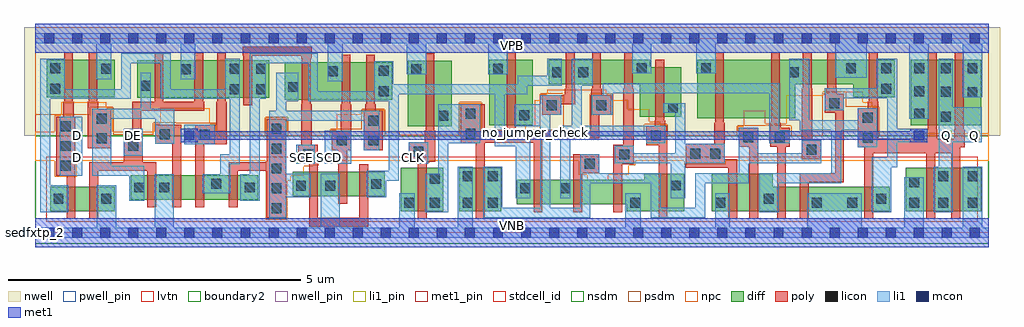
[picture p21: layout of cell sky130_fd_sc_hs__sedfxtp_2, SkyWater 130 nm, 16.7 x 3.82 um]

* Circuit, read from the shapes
.subckt sky130_fd_sc_hs__sedfxtp_2 CLK D DE Q SCD SCE VGND VNB VPB VPWR
XM1 n1 D n2 VNB sky130_fd_pr__nfet_01v8_lvt w=0.42 l=0.15
XM2 VGND DE n1 VNB sky130_fd_pr__nfet_01v8_lvt w=0.42 l=0.15
XM3 VGND DE n3 VNB sky130_fd_pr__nfet_01v8_lvt w=0.42 l=0.15
XM4 n4 n3 VGND VNB sky130_fd_pr__nfet_01v8_lvt w=0.42 l=0.15
XM5 n2 n5 n4 VNB sky130_fd_pr__nfet_01v8_lvt w=0.42 l=0.15
XM6 n6 n7 n2 VNB sky130_fd_pr__nfet_01v8_lvt w=0.42 l=0.15
XM7 VGND SCE n7 VNB sky130_fd_pr__nfet_01v8_lvt w=0.42 l=0.15
XM8 n8 SCD VGND VNB sky130_fd_pr__nfet_01v8_lvt w=0.42 l=0.15
XM9 n6 SCE n8 VNB sky130_fd_pr__nfet_01v8_lvt w=0.42 l=0.15
XM10 n9 CLK VGND VNB sky130_fd_pr__nfet_01v8_lvt w=0.74 l=0.15
XM11 n10 n9 VGND VNB sky130_fd_pr__nfet_01v8_lvt w=0.74 l=0.15
XM12 n11 n9 n6 VNB sky130_fd_pr__nfet_01v8_lvt w=0.42 l=0.15
XM13 n12 n10 n11 VNB sky130_fd_pr__nfet_01v8_lvt w=0.42 l=0.15
XM14 VGND n13 n12 VNB sky130_fd_pr__nfet_01v8_lvt w=0.42 l=0.15
XM15 n13 n11 VGND VNB sky130_fd_pr__nfet_01v8_lvt w=0.64 l=0.15
XM16 n14 n13 VGND VNB sky130_fd_pr__nfet_01v8_lvt w=0.64 l=0.15
XM17 n15 n10 n14 VNB sky130_fd_pr__nfet_01v8_lvt w=0.64 l=0.15
XM18 n16 n9 n15 VNB sky130_fd_pr__nfet_01v8_lvt w=0.42 l=0.15
XM19 VGND n5 n16 VNB sky130_fd_pr__nfet_01v8_lvt w=0.42 l=0.15
XM20 n5 n15 VGND VNB sky130_fd_pr__nfet_01v8_lvt w=0.42 l=0.15
XM21 Q n15 VGND VNB sky130_fd_pr__nfet_01v8_lvt w=0.74 l=0.15 m=2
XM22 n17 D n2 VPB sky130_fd_pr__pfet_01v8 w=0.64 l=0.15
XM23 VPWR n3 n17 VPB sky130_fd_pr__pfet_01v8 w=0.64 l=0.15
XM24 VPWR DE n3 VPB sky130_fd_pr__pfet_01v8 w=0.64 l=0.15
XM25 n18 DE VPWR VPB sky130_fd_pr__pfet_01v8 w=0.64 l=0.15
XM26 n2 n5 n18 VPB sky130_fd_pr__pfet_01v8 w=0.64 l=0.15
XM27 n6 SCE n2 VPB sky130_fd_pr__pfet_01v8 w=0.64 l=0.15
XM28 VPWR SCE n7 VPB sky130_fd_pr__pfet_01v8 w=0.64 l=0.15
XM29 n19 SCD VPWR VPB sky130_fd_pr__pfet_01v8 w=0.64 l=0.15
XM30 n6 n7 n19 VPB sky130_fd_pr__pfet_01v8 w=0.64 l=0.15
XM31 n9 CLK VPWR VPB sky130_fd_pr__pfet_01v8 w=1.12 l=0.15
XM32 n10 n9 VPWR VPB sky130_fd_pr__pfet_01v8 w=1.12 l=0.15
XM33 n11 n10 n6 VPB sky130_fd_pr__pfet_01v8 w=0.42 l=0.15
XM34 n20 n9 n11 VPB sky130_fd_pr__pfet_01v8 w=0.42 l=0.15
XM35 VPWR n13 n20 VPB sky130_fd_pr__pfet_01v8 w=0.42 l=0.15
XM36 n13 n11 VPWR VPB sky130_fd_pr__pfet_01v8 w=0.84 l=0.15
XM37 n21 n13 VPWR VPB sky130_fd_pr__pfet_01v8 w=1 l=0.15
XM38 n15 n9 n21 VPB sky130_fd_pr__pfet_01v8 w=1 l=0.15
XM39 n22 n10 n15 VPB sky130_fd_pr__pfet_01v8 w=0.42 l=0.15
XM40 VPWR n5 n22 VPB sky130_fd_pr__pfet_01v8 w=0.42 l=0.15
XM41 n5 n15 VPWR VPB sky130_fd_pr__pfet_01v8 w=0.64 l=0.15
XM42 Q n15 VPWR VPB sky130_fd_pr__pfet_01v8 w=1.12 l=0.15 m=2
.ends

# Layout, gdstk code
import gdstk
lib = gdstk.Library(unit=1e-6, precision=1e-09)
def R(c, l, rs):  # rectangles x0, y0, x1, y1
    for r in rs: c.add(gdstk.rectangle(r[:2], r[2:], *l))
def A(c, l, x, y, w, h, nx, ny, dx, dy):  # array of equal rectangles
    R(c, l, [(x+i*dx, y+j*dy, x+i*dx+w, y+j*dy+h) for i in range(nx) for j in range(ny)])
def P(c, l, *ps):  # polygons
    for p in ps: c.add(gdstk.Polygon(p, *l))
nwell_pin = (64, 16)
nwell = (64, 20)
diff = (65, 20)
poly = (66, 20)
licon = (66, 44)
li1_pin = (67, 16)
li1 = (67, 20)
mcon = (67, 44)
met1_pin = (68, 16)
met1 = (68, 20)
stdcell_id = (81, 4)
nsdm = (93, 44)
psdm = (94, 20)
npc = (95, 20)
pwell_pin = (122, 16)
lvtn = (125, 44)
boundary2 = (236, 0)

sky130_fd_sc_hs__sedfxtp = lib.new_cell('sky130_fd_sc_hs__sedfxtp_2')
R(sky130_fd_sc_hs__sedfxtp, nwell_pin, [(0,3.085,16.32,3.33)])
P(sky130_fd_sc_hs__sedfxtp, nwell, [(16.51,3.52),(-0.19,3.52),(-0.19,1.66),(6.2,1.66),(6.2,1.64),(7.305,1.64),(7.305,1.66),(16.51,1.66)])
R(sky130_fd_sc_hs__sedfxtp, diff, [(0.255,0.37,1.365,0.79), (6.255,0.37,6.985,1.11), (7.255,0.37,7.975,1.11), (14.895,0.37,16.185,1.11), (1.635,0.565,3.82,0.985), (4.405,0.625,5.985,1.045), (6.38,1.82,7.125,2.94), (7.775,1.84,8.515,2.96), (14.98,1.84,16.185,2.96), (4.275,2.275,6.11,2.915), (1.75,2.315,4.005,2.955), (0.2,2.32,1.36,2.96)])
P(sky130_fd_sc_hs__sedfxtp, diff, [(11.06,2.83),(10.525,2.83),(10.525,2.96),(8.785,2.96),(8.785,2.54),(10.35,2.54),(10.35,1.99),(11.06,1.99)],
  [(11.105,1.01),(10.42,1.01),(10.42,0.905),(8.245,0.905),(8.245,0.485),(10.12,0.485),(10.12,0.37),(11.105,0.37)],
  [(14.625,0.79),(12.62,0.79),(12.62,1.01),(11.575,1.01),(11.575,0.37),(14.625,0.37)],
  [(14.71,2.96),(11.33,2.96),(11.33,1.96),(13.01,1.96),(13.01,2.54),(14,2.54),(14,2.32),(14.71,2.32)])
P(sky130_fd_sc_hs__sedfxtp, poly, [(9.245,2.465),(9.23,2.465),(9.23,3.09),(9.08,3.09),(9.08,2.465),(9.065,2.465),(9.065,2.35),(8.675,2.35),(8.675,2.02),(9.005,2.02),(9.005,2.2),(9.245,2.2)],
  [(6.845,1.745),(6.83,1.745),(6.83,3.07),(6.68,3.07),(6.68,1.745),(6.665,1.745),(6.665,1.55),(6.395,1.55),(6.395,1.22),(6.55,1.22),(6.55,0.24),(6.7,0.24),(6.7,1.22),(6.845,1.22)],
  [(5.95,2.085),(5.83,2.085),(5.83,2.2),(5.815,2.2),(5.815,3.045),(5.665,3.045),(5.665,2.2),(5.65,2.2),(5.65,2.085),(5.62,2.085),(5.62,1.415),(5.95,1.415)],
  [(5.7,1.175),(5.55,1.175),(5.55,0.255),(4.84,0.255),(4.84,1.51),(4.73,1.51),(4.73,2.2),(4.715,2.2),(4.715,2.99),(4.73,2.99),(4.73,3.18),(3.55,3.18),(3.55,3.03),(3.565,3.03),(3.565,2.185),(3.715,2.185),(3.715,3.03),(4.55,3.03),(4.55,2.99),(4.565,2.99),(4.565,2.2),(4.55,2.2),(4.55,1.51),(4.505,1.51),(4.505,1.18),(4.69,1.18),(4.69,0.105),(5.7,0.105)],
  [(5.41,2.2),(5.395,2.2),(5.395,3.045),(5.245,3.045),(5.245,2.2),(5.23,2.2),(5.23,1.745),(5.08,1.745),(5.08,1.415),(5.19,1.415),(5.19,0.495),(5.34,0.495),(5.34,1.415),(5.41,1.415)],
  [(4.295,1.945),(3.965,1.945),(3.965,1.21),(3.315,1.21),(3.315,0.435),(3.465,0.435),(3.465,1.06),(3.965,1.06),(3.965,0.255),(4.295,0.255)],
  [(3.28,2.24),(3.265,2.24),(3.265,3.085),(3.115,3.085),(3.115,2.24),(3.1,2.24),(3.1,1.845),(2.74,1.845),(2.74,0.435),(2.89,0.435),(2.89,1.515),(3.28,1.515)],
  [(2.89,2.24),(2.875,2.24),(2.875,3.085),(2.725,3.085),(2.725,2.24),(2.195,2.24),(2.195,3.085),(2.045,3.085),(2.045,2.24),(1.665,2.24),(1.665,1.65),(1.515,1.65),(1.515,1.21),(0.93,1.21),(0.93,0.24),(1.08,0.24),(1.08,1.06),(1.92,1.06),(1.92,0.435),(2.07,0.435),(2.07,1.21),(1.845,1.21),(1.845,1.65),(1.815,1.65),(1.815,2.09),(2.89,2.09)],
  [(2.5,1.85),(2.055,1.85),(2.055,1.52),(2.35,1.52),(2.35,0.435),(2.5,0.435)],
  [(1.305,2.12),(1.08,2.12),(1.08,2.245),(1.065,2.245),(1.065,3.09),(0.915,3.09),(0.915,2.245),(0.9,2.245),(0.9,1.45),(1.305,1.45)],
  [(0.69,1.99),(0.66,1.99),(0.66,2.245),(0.645,2.245),(0.645,3.09),(0.495,3.09),(0.495,2.245),(0.48,2.245),(0.48,1.99),(0.36,1.99),(0.36,0.98),(0.54,0.98),(0.54,0.24),(0.69,0.24)],
  [(9.655,1.345),(9.21,1.345),(9.21,0.355),(9.36,0.355),(9.36,1.015),(9.655,1.015)],
  [(9.855,2.35),(9.695,2.35),(9.695,2.465),(9.68,2.465),(9.68,3.09),(9.53,3.09),(9.53,2.465),(9.515,2.465),(9.515,2.35),(9.505,2.35),(9.505,1.765),(8.22,1.765),(8.22,3.09),(8.07,3.09),(8.07,1.765),(7.69,1.765),(7.69,2.2),(7.285,2.2),(7.285,1.53),(7.54,1.53),(7.54,0.24),(7.69,0.24),(7.69,1.545),(8.53,1.545),(8.53,0.355),(8.68,0.355),(8.68,1.615),(9.655,1.615),(9.655,2.02),(9.855,2.02)],
  [(10.245,2.465),(10.23,2.465),(10.23,3.09),(10.08,3.09),(10.08,2.465),(10.065,2.465),(10.065,1.505),(9.895,1.505),(9.895,0.355),(10.045,0.355),(10.045,1.175),(10.245,1.175)],
  [(10.82,1.83),(10.78,1.83),(10.78,1.915),(10.765,1.915),(10.765,2.96),(10.615,2.96),(10.615,1.915),(10.6,1.915),(10.6,1.83),(10.455,1.83),(10.455,1.5),(10.67,1.5),(10.67,0.24),(10.82,0.24)],
  [(12.01,1.26),(11.8,1.26),(11.8,1.885),(11.785,1.885),(11.785,3.09),(11.635,3.09),(11.635,1.885),(11.62,1.885),(11.62,1.52),(11.13,1.52),(11.13,1.11),(11.86,1.11),(11.86,0.24),(12.01,0.24)],
  [(12.37,1.8),(12.04,1.8),(12.04,1.47),(12.22,1.47),(12.22,0.24),(12.37,0.24)],
  [(12.91,1.8),(12.76,1.8),(12.76,1.885),(12.745,1.885),(12.745,3.09),(12.595,3.09),(12.595,1.885),(12.58,1.885),(12.58,1.47),(12.695,1.47),(12.695,0.24),(12.845,0.24),(12.845,1.47),(12.91,1.47)],
  [(13.45,1.585),(13.3,1.585),(13.3,2.465),(13.285,2.465),(13.285,3.09),(13.135,3.09),(13.135,2.465),(13.12,2.465),(13.12,1.255),(13.45,1.255)],
  [(13.84,2.38),(13.72,2.38),(13.72,2.465),(13.705,2.465),(13.705,3.09),(13.555,3.09),(13.555,2.465),(13.54,2.465),(13.54,2.38),(13.51,2.38),(13.51,2.05),(13.69,2.05),(13.69,1.015),(13.085,1.015),(13.085,0.24),(13.235,0.24),(13.235,0.865),(13.84,0.865)],
  [(15.905,1.765),(15.89,1.765),(15.89,3.09),(15.74,3.09),(15.74,1.765),(15.725,1.765),(15.725,1.61),(15.44,1.61),(15.44,1.765),(15.425,1.765),(15.425,3.09),(15.275,3.09),(15.275,1.765),(15.26,1.765),(15.26,1.61),(14.43,1.61),(14.43,2.245),(14.415,2.245),(14.415,3.09),(14.265,3.09),(14.265,2.245),(14.25,2.245),(14.25,2.13),(14.08,2.13),(14.08,1.46),(14.19,1.46),(14.19,0.24),(14.34,0.24),(14.34,1.36),(15.25,1.36),(15.25,0.24),(15.4,0.24),(15.4,1.36),(15.68,1.36),(15.68,0.24),(15.83,0.24),(15.83,1.46),(15.905,1.46)])
A(sky130_fd_sc_hs__sedfxtp, licon, 4.045, 0.335, 0.17, 0.17, 1, 5, 0, 0.34)
A(sky130_fd_sc_hs__sedfxtp, licon, 14.955, 0.43, 0.17, 0.17, 3, 1, 0.5, 0)
A(sky130_fd_sc_hs__sedfxtp, licon, 0.44, 1.06, 0.17, 0.17, 1, 3, 0, 0.34)
R(sky130_fd_sc_hs__sedfxtp, licon, [(6.32,0.43,6.49,0.6), (6.755,0.43,6.925,0.6), (7.315,0.43,7.485,0.6), (7.745,0.43,7.915,0.6), (10.185,0.43,10.355,0.6), (11.635,0.43,11.805,0.6), (13.29,0.43,13.46,0.6), (13.895,0.43,14.065,0.6), (0.315,0.495,0.485,0.665), (1.135,0.495,1.305,0.665), (12.47,0.495,12.64,0.665), (14.395,0.495,14.565,0.665), (8.305,0.675,8.475,0.845), (8.985,0.675,9.155,0.845), (1.695,0.69,1.865,0.86), (2.125,0.69,2.295,0.86), (3.59,0.69,3.76,0.86), (4.465,0.72,4.635,0.89), (4.965,0.72,5.135,0.89), (10.875,0.725,11.045,0.895), (5.755,0.75,5.925,0.92), (3.015,0.755,3.185,0.925), (14.955,0.78,15.125,0.95), (6.755,0.84,6.925,1.01), (7.315,0.88,7.485,1.05), (7.745,0.88,7.915,1.05), (15.455,0.88,15.625,1.05), (15.955,0.88,16.125,1.05), (9.405,1.095,9.575,1.265), (9.995,1.255,10.165,1.425), (4.585,1.26,4.755,1.43), (11.21,1.27,11.38,1.44), (11.55,1.27,11.72,1.44), (6.475,1.3,6.645,1.47), (13.2,1.335,13.37,1.505), (1.595,1.4,1.765,1.57), (5.16,1.495,5.33,1.665), (5.7,1.495,5.87,1.665), (1.055,1.53,1.225,1.7), (14.16,1.54,14.33,1.71), (12.12,1.55,12.29,1.72), (12.66,1.55,12.83,1.72), (10.535,1.58,10.705,1.75), (2.82,1.595,2.99,1.765), (2.135,1.6,2.305,1.77), (7.365,1.61,7.535,1.78), (5.7,1.835,5.87,2.005), (1.055,1.87,1.225,2.04), (14.16,1.88,14.33,2.05), (15.495,1.9,15.665,2.07), (6.895,1.915,7.065,2.085), (8.285,1.925,8.455,2.095), (7.365,1.95,7.535,2.12), (15.04,1.95,15.21,2.12), (10.83,2.05,11,2.22), (8.755,2.1,8.925,2.27), (9.605,2.1,9.775,2.27), (13.59,2.13,13.76,2.3), (15.955,2.32,16.125,2.49), (15.495,2.325,15.665,2.495), (5.88,2.335,6.05,2.505), (15.04,2.335,15.21,2.505), (3.33,2.375,3.5,2.545), (3.78,2.375,3.95,2.545), (0.26,2.38,0.43,2.55), (14.48,2.38,14.65,2.55), (4.33,2.41,4.5,2.58), (1.81,2.43,1.98,2.6), (8.845,2.665,9.015,2.835), (9.295,2.665,9.465,2.835), (12.9,2.665,13.07,2.835), (5.01,2.68,5.18,2.85), (5.88,2.685,6.05,2.855), (6.44,2.71,6.61,2.88), (2.49,2.715,2.66,2.885), (1.13,2.72,1.3,2.89), (7.835,2.72,8.005,2.89), (3.33,2.725,3.5,2.895), (3.78,2.725,3.95,2.895), (0.26,2.73,0.43,2.9), (10.295,2.73,10.465,2.9), (11.395,2.73,11.565,2.9), (13.875,2.73,14.045,2.9), (14.48,2.73,14.65,2.9), (15.04,2.73,15.21,2.9), (15.495,2.73,15.665,2.9), (15.955,2.73,16.125,2.9)])
R(sky130_fd_sc_hs__sedfxtp, li1_pin, [(0.635,1.21,0.805,1.38), (4.475,1.21,4.645,1.38), (4.955,1.21,5.125,1.38), (6.395,1.21,6.565,1.38), (0.635,1.58,0.805,1.75), (1.595,1.58,1.765,1.75), (15.515,1.58,15.685,1.75), (15.995,1.58,16.165,1.75)])
R(sky130_fd_sc_hs__sedfxtp, li1, [(0.425,0.98,0.805,1.99), (4.465,1.18,4.785,1.51), (4.955,1.18,5.41,1.745), (6.395,1.18,6.725,1.55), (1.515,1.32,1.845,1.78), (2.555,1.515,3.07,1.845)])
P(sky130_fd_sc_hs__sedfxtp, li1, [(16.32,3.415),(0,3.415),(0,3.245),(1.05,3.245),(1.05,2.63),(1.3,2.63),(1.3,3.245),(2.49,3.245),(2.49,2.63),(2.74,2.63),(2.74,3.245),(5.01,3.245),(5.01,2.595),(5.26,2.595),(5.26,3.245),(6.36,3.245),(6.36,2.71),(6.695,2.71),(6.695,3.245),(7.755,3.245),(7.755,2.71),(8.085,2.71),(8.085,3.245),(10.215,3.245),(10.215,2.73),(10.545,2.73),(10.545,3.245),(11.31,3.245),(11.31,2.73),(11.65,2.73),(11.65,3.245),(13.69,3.245),(13.69,2.65),(14.23,2.65),(14.23,3.245),(14.96,3.245),(14.96,1.95),(15.29,1.95),(15.29,3.245),(15.875,3.245),(15.875,2.32),(16.205,2.32),(16.205,3.245),(16.32,3.245)],
  [(2.385,2.12),(1.98,2.12),(1.98,2.735),(1.81,2.735),(1.81,2.12),(0.975,2.12),(0.975,0.98),(1.615,0.98),(1.615,0.545),(1.865,0.545),(1.865,1.15),(1.305,1.15),(1.305,1.95),(2.055,1.95),(2.055,1.52),(2.385,1.52)],
  [(3.5,2.975),(3.25,2.975),(3.25,2.46),(2.32,2.46),(2.32,3.075),(1.47,3.075),(1.47,2.46),(0.51,2.46),(0.51,2.98),(0.085,2.98),(0.085,0.35),(0.565,0.35),(0.565,0.81),(0.255,0.81),(0.255,2.29),(1.64,2.29),(1.64,2.905),(2.15,2.905),(2.15,2.29),(3.33,2.29),(3.33,1.345),(3.17,1.345),(3.17,1.005),(2.865,1.005),(2.865,0.675),(3.34,0.675),(3.34,1.175),(3.5,1.175)],
  [(5.885,2.085),(4.295,2.085),(4.295,2.255),(4.5,2.255),(4.5,2.735),(4.125,2.735),(4.125,2.085),(4.01,2.085),(4.01,0.255),(4.295,0.255),(4.295,0.605),(4.715,0.605),(4.715,1.01),(4.295,1.01),(4.295,1.915),(5.62,1.915),(5.62,1.415),(5.885,1.415)],
  [(7.615,2.2),(6.895,2.2),(6.895,1.01),(6.675,1.01),(6.675,0.35),(7.065,0.35),(7.065,1.53),(7.615,1.53)],
  [(9.015,2.98),(8.765,2.98),(8.765,2.69),(8.255,2.69),(8.255,2.54),(6.13,2.54),(6.13,2.935),(5.8,2.935),(5.8,2.425),(4.84,2.425),(4.84,3.075),(3.67,3.075),(3.67,1.005),(3.51,1.005),(3.51,0.545),(3.84,0.545),(3.84,2.295),(3.95,2.295),(3.95,2.905),(4.67,2.905),(4.67,2.255),(6.055,2.255),(6.055,1.065),(5.675,1.065),(5.675,0.605),(6.005,0.605),(6.005,0.895),(6.225,0.895),(6.225,2.37),(7.865,2.37),(7.865,1.48),(8.225,1.48),(8.225,0.595),(8.475,0.595),(8.475,1.65),(8.035,1.65),(8.035,2.37),(8.425,2.37),(8.425,2.52),(9.015,2.52)],
  [(10.785,1.83),(9.355,1.83),(9.355,2.52),(9.545,2.52),(9.545,2.98),(9.185,2.98),(9.185,1.83),(8.985,1.83),(8.985,0.595),(9.155,0.595),(9.155,1.66),(10.455,1.66),(10.455,1.53),(10.785,1.53)],
  [(11.8,1.52),(11.125,1.52),(11.125,2.22),(10.75,2.22),(10.75,2.05),(10.955,2.05),(10.955,1.36),(10.245,1.36),(10.245,1.49),(9.915,1.49),(9.915,1.19),(10.875,1.19),(10.875,0.595),(11.125,0.595),(11.125,1.19),(11.8,1.19)],
  [(12.91,1.755),(12.73,1.755),(12.73,2.56),(9.715,2.56),(9.715,2.35),(9.525,2.35),(9.525,2.02),(9.885,2.02),(9.885,2.39),(12.56,2.39),(12.56,1.53),(12.91,1.53)],
  [(13.45,1.585),(13.12,1.585),(13.12,1.36),(12.37,1.36),(12.37,1.8),(12.04,1.8),(12.04,1.02),(11.295,1.02),(11.295,0.425),(10.705,0.425),(10.705,1.02),(9.655,1.02),(9.655,1.345),(9.325,1.345),(9.325,0.425),(8.815,0.425),(8.815,2.02),(9.005,2.02),(9.005,2.35),(8.645,2.35),(8.645,2.2),(8.205,2.2),(8.205,1.82),(8.645,1.82),(8.645,0.425),(7.995,0.425),(7.995,1.13),(7.665,1.13),(7.665,0.255),(9.495,0.255),(9.495,0.85),(10.535,0.85),(10.535,0.255),(11.465,0.255),(11.465,0.85),(12.21,0.85),(12.21,1.19),(13.45,1.19)],
  [(16.32,0.085),(16.205,0.085),(16.205,1.13),(15.875,1.13),(15.875,0.085),(15.205,0.085),(15.205,0.95),(14.875,0.95),(14.875,0.085),(14.145,0.085),(14.145,0.68),(13.21,0.68),(13.21,0.085),(11.885,0.085),(11.885,0.68),(11.635,0.68),(11.635,0.085),(10.365,0.085),(10.365,0.68),(10.1,0.68),(10.1,0.085),(7.485,0.085),(7.485,1.13),(7.235,1.13),(7.235,0.085),(6.495,0.085),(6.495,0.68),(6.235,0.68),(6.235,0.085),(5.215,0.085),(5.215,1.01),(4.885,1.01),(4.885,0.085),(2.375,0.085),(2.375,1.005),(2.045,1.005),(2.045,0.085),(1.385,0.085),(1.385,0.81),(1.055,0.81),(1.055,0.085),(0,0.085),(0,-0.085),(16.32,-0.085)],
  [(14.41,2.13),(14.08,2.13),(14.08,1.925),(13.25,1.925),(13.25,2.98),(12.9,2.98),(12.9,1.925),(13.08,1.925),(13.08,1.755),(13.62,1.755),(13.62,1.02),(12.39,1.02),(12.39,0.35),(12.72,0.35),(12.72,0.85),(13.79,0.85),(13.79,1.755),(14.08,1.755),(14.08,1.46),(14.41,1.46)],
  [(15.235,1.78),(14.75,1.78),(14.75,2.98),(14.4,2.98),(14.4,2.47),(13.51,2.47),(13.51,2.095),(13.84,2.095),(13.84,2.3),(14.58,2.3),(14.58,1.29),(14.315,1.29),(14.315,0.35),(14.645,0.35),(14.645,1.12),(14.75,1.12),(14.75,1.55),(15.235,1.55)],
  [(16.195,2.15),(15.705,2.15),(15.705,2.98),(15.46,2.98),(15.46,1.13),(15.375,1.13),(15.375,0.35),(15.705,0.35),(15.705,1.55),(16.195,1.55)])
A(sky130_fd_sc_hs__sedfxtp, mcon, 0.155, -0.085, 0.17, 0.17, 34, 2, 0.48, 3.33)
R(sky130_fd_sc_hs__sedfxtp, mcon, [(2.555,1.58,2.725,1.75), (15.035,1.58,15.205,1.75)])
R(sky130_fd_sc_hs__sedfxtp, met1_pin, [(0,0,16.32,0.245), (0,3.085,16.32,3.33)])
R(sky130_fd_sc_hs__sedfxtp, met1, [(0,-0.245,16.32,0.245), (0,3.085,16.32,3.575)])
P(sky130_fd_sc_hs__sedfxtp, met1, [(15.265,1.78),(14.975,1.78),(14.975,1.735),(2.785,1.735),(2.785,1.78),(2.495,1.78),(2.495,1.55),(2.785,1.55),(2.785,1.595),(14.975,1.595),(14.975,1.55),(15.265,1.55)])
R(sky130_fd_sc_hs__sedfxtp, stdcell_id, [(0,0,16.32,3.33)])
R(sky130_fd_sc_hs__sedfxtp, nsdm, [(0,-0.19,16.32,1.66)])
P(sky130_fd_sc_hs__sedfxtp, psdm, [(16.32,3.52),(0,3.52),(0,2.02),(0.945,2.02),(0.945,2.15),(1.335,2.15),(1.335,1.68),(2.025,1.68),(2.025,1.88),(2.415,1.88),(2.415,1.875),(3.1,1.875),(3.1,1.66),(3.935,1.66),(3.935,1.975),(4.325,1.975),(4.325,1.66),(5.05,1.66),(5.05,1.775),(5.59,1.775),(5.59,2.115),(5.98,2.115),(5.98,1.66),(7.255,1.66),(7.255,2.23),(7.645,2.23),(7.645,1.66),(8.645,1.66),(8.645,2.38),(9.035,2.38),(9.035,1.66),(9.495,1.66),(9.495,2.38),(9.885,2.38),(9.885,1.66),(10.425,1.66),(10.425,1.86),(10.815,1.86),(10.815,1.66),(12.01,1.66),(12.01,1.83),(12.94,1.83),(12.94,1.66),(13.48,1.66),(13.48,2.41),(13.87,2.41),(13.87,2.16),(14.44,2.16),(14.44,1.66),(16.32,1.66)])
P(sky130_fd_sc_hs__sedfxtp, npc, [(16.32,1.7),(14.84,1.7),(14.84,1.73),(14.43,1.73),(14.43,2.15),(14.325,2.15),(14.325,2.23),(14.16,2.23),(14.16,2.415),(13.595,2.415),(13.595,2.4),(13.49,2.4),(13.49,2.35),(12.85,2.35),(12.85,1.87),(12.49,1.87),(12.49,2.085),(12.125,2.085),(12.125,1.82),(12.02,1.82),(12.02,1.73),(10.805,1.73),(10.805,1.85),(10.7,1.85),(10.7,1.9),(10.51,1.9),(10.51,2.115),(10.14,2.115),(10.14,2.265),(9.875,2.265),(9.875,2.37),(9.77,2.37),(9.77,2.45),(8.76,2.45),(8.76,2.37),(8.655,2.37),(8.655,2.265),(8.545,2.265),(8.545,1.835),(8.39,1.835),(8.39,1.7),(7.635,1.7),(7.635,2.22),(7.265,2.22),(7.265,1.68),(6.24,1.68),(6.24,1.73),(5.97,1.73),(5.97,2.105),(5.6,2.105),(5.6,2.03),(5.165,2.03),(5.165,1.765),(5.06,1.765),(5.06,1.73),(4.315,1.73),(4.315,1.965),(3.945,1.965),(3.945,1.73),(3.09,1.73),(3.09,1.865),(2.985,1.865),(2.985,2.13),(2.14,2.13),(2.14,1.87),(2.035,1.87),(2.035,1.73),(1.325,1.73),(1.325,2.14),(1.22,2.14),(1.22,2.23),(0.445,2.23),(0.445,2.01),(0.34,2.01),(0.34,1.73),(0,1.73),(0,1.23),(0.34,1.23),(0.34,0.96),(0.71,0.96),(0.71,1.23),(3.945,1.23),(3.945,0.225),(4.315,0.225),(4.315,0.895),(4.375,0.895),(4.375,0.98),(4.6,0.98),(4.6,1.135),(4.75,1.135),(4.75,1.16),(4.855,1.16),(4.855,1.23),(6.375,1.23),(6.375,1.2),(6.745,1.2),(6.745,1.23),(9.305,1.23),(9.305,0.995),(9.45,0.995),(9.45,0.89),(9.805,0.89),(9.805,0.995),(10.16,0.995),(10.16,1.155),(10.265,1.155),(10.265,1.23),(11.11,1.23),(11.11,1.17),(11.82,1.17),(11.82,1.23),(16.32,1.23)])
R(sky130_fd_sc_hs__sedfxtp, pwell_pin, [(0,0,16.32,0.245)])
R(sky130_fd_sc_hs__sedfxtp, lvtn, [(0.19,0.19,16.13,1.3)])
R(sky130_fd_sc_hs__sedfxtp, boundary2, [(0,0,16.32,3.33)])
sky130_fd_sc_hs__sedfxtp.add(gdstk.Label('sedfxtp_2', (0,0), layer=83, texttype=44))
sky130_fd_sc_hs__sedfxtp.add(gdstk.Label('no_jumper_check', (8.555,1.72), layer=83, texttype=44))
sky130_fd_sc_hs__sedfxtp.add(gdstk.Label('VNB', (8.16,0.123), layer=64, texttype=59))
sky130_fd_sc_hs__sedfxtp.add(gdstk.Label('VPB', (8.16,3.208), layer=64, texttype=5))
sky130_fd_sc_hs__sedfxtp.add(gdstk.Label('VPWR', (8.16,3.208), layer=68, texttype=5))
sky130_fd_sc_hs__sedfxtp.add(gdstk.Label('VGND', (8.16,0.123), layer=68, texttype=5))
sky130_fd_sc_hs__sedfxtp.add(gdstk.Label('SCE', (4.56,1.295), layer=67, texttype=5))
sky130_fd_sc_hs__sedfxtp.add(gdstk.Label('CLK', (6.48,1.295), layer=67, texttype=5))
sky130_fd_sc_hs__sedfxtp.add(gdstk.Label('D', (0.72,1.295), layer=67, texttype=5))
sky130_fd_sc_hs__sedfxtp.add(gdstk.Label('D', (0.72,1.665), layer=67, texttype=5))
sky130_fd_sc_hs__sedfxtp.add(gdstk.Label('DE', (1.68,1.665), layer=67, texttype=5))
sky130_fd_sc_hs__sedfxtp.add(gdstk.Label('SCD', (5.04,1.295), layer=67, texttype=5))
sky130_fd_sc_hs__sedfxtp.add(gdstk.Label('Q', (15.6,1.665), layer=67, texttype=5))
sky130_fd_sc_hs__sedfxtp.add(gdstk.Label('Q', (16.08,1.665), layer=67, texttype=5))

lib.write_gds('sky130_fd_sc_hs__sedfxtp_2.gds')
